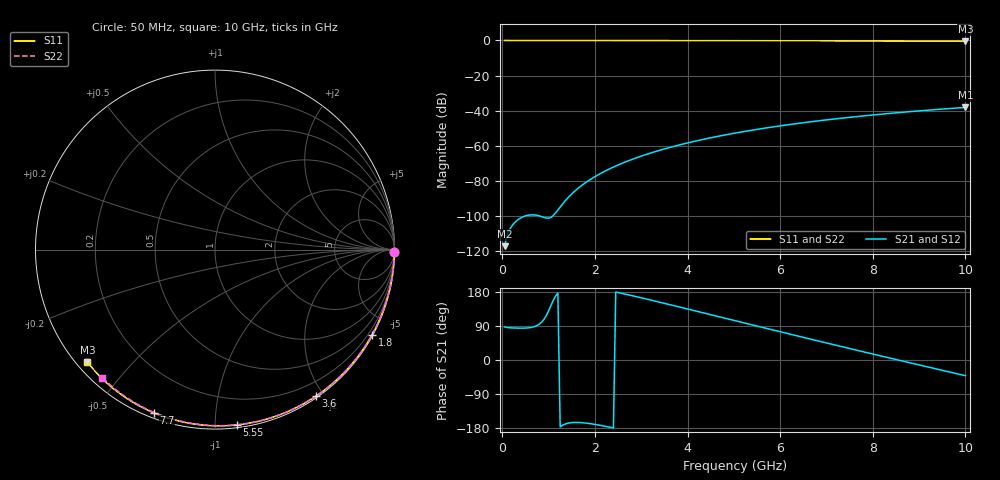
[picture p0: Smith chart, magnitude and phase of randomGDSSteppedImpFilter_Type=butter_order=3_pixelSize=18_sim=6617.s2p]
! freq	dB(S11)	phase(S11)	dB(S12)	phase(S12)
!  dB(S21)	phase(S21)	dB(S22)	phase(S22)
!S-par simulation data
#  GHz  S  DB  R 50
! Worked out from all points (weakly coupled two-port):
!   200 points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, 50 MHz to 10 GHz, reference 50 ohm
!   highest |S21| = -38.14 dB at 10 GHz (marker M1); lowest = -117.2 dB at 50 MHz (marker M2)
!   lowest |S11| = -0.5 dB at 10 GHz (marker M3), VSWR 37.05, Z = 1.54 - j18.9 ohm
!   |S11| at or under -10 dB: nowhere
!   |S22| runs from -0.4 to 0.0 dB; largest |S21 - S12| = 0
!   S11 on the Smith chart (normalised r, x): 50 MHz: open; 1.8 GHz: 0.03, -3.95; 3.6 GHz: 0.02, -1.90; 5.55 GHz: 0.02, -1.13; 7.7 GHz: 0.02, -0.69; 10 GHz: 0.03, -0.38
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0.05  -0.00 -0.8  -117.18 87.2  -117.18 87.2  -0.00 -0.8
0.45  -0.01 -7.2  -100.41 84.0  -100.41 84.0  -0.01 -6.8
0.9  -0.02 -14.4  -100.81 107.4  -100.81 107.4  -0.02 -13.6
1.75  -0.04 -27.6  -81.90 -165.8  -81.90 -165.8  -0.03 -26.2
1.8  -0.04 -28.4  -80.95 -166.4  -80.95 -166.4  -0.03 -26.9
1.85  -0.04 -29.2  -80.06 -167.2  -80.06 -167.2  -0.04 -27.7
2.15  -0.04 -33.8  -75.35 -173.2  -75.35 -173.2  -0.04 -32.0
2.35  -0.05 -36.9  -72.72 -178.0  -72.72 -178.0  -0.04 -34.9
2.55  -0.05 -39.9  -70.37 176.7  -70.37 176.7  -0.05 -37.8
2.95  -0.06 -45.9  -66.33 165.6  -66.33 165.6  -0.06 -43.5
3.4  -0.07 -52.6  -62.54 152.5  -62.54 152.5  -0.07 -49.9
3.6  -0.07 -55.5  -61.06 146.6  -61.06 146.6  -0.07 -52.7
3.9  -0.08 -59.9  -59.01 137.6  -59.01 137.6  -0.08 -56.8
4.3  -0.09 -65.6  -56.56 125.6  -56.56 125.6  -0.09 -62.2
5.05  -0.12 -76.0  -52.65 103.1  -52.65 103.1  -0.11 -72.2
5.55  -0.14 -82.8  -50.43 88.0  -50.43 88.0  -0.13 -78.7
6.1  -0.16 -90.1  -48.27 71.6  -48.27 71.6  -0.15 -85.6
6.7  -0.19 -97.9  -46.19 53.8  -46.19 53.8  -0.18 -93.0
7.7  -0.25 -110.6  -43.23 24.4  -43.23 24.4  -0.24 -105.0
8.35  -0.30 -118.6  -41.58 5.6  -41.58 5.6  -0.29 -112.6
9.2  -0.38 -128.9  -39.69 -18.7  -39.69 -18.7  -0.36 -122.4
10  -0.47 -138.6  -38.14 -41.4  -38.14 -41.4  -0.44 -131.4
